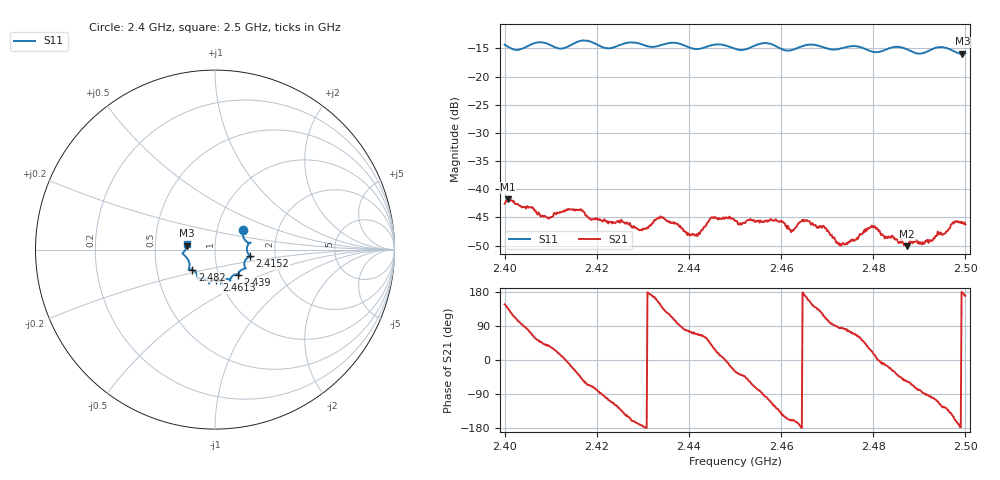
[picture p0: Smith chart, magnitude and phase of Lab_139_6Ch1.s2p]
# Hz S RI R 50
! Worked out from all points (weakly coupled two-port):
!   601 points, 2.4 GHz to 2.5 GHz, reference 50 ohm
!   highest |S21| = -41.80 dB at 2.4007 GHz (marker M1); lowest = -50.1 dB at 2.4873 GHz (marker M2)
!   lowest |S11| = -15.9 dB at 2.4993 GHz (marker M3), VSWR 1.38, Z = 36.3 + j1.61 ohm
!   |S11| at or under -10 dB: start of sweep to end of sweep
!   S12 and S22 are empty: the file has one direction only
!   S11 on the Smith chart (normalised r, x): 2.4 GHz: 1.33, +0.31; 2.4152 GHz: 1.48, -0.11; 2.439 GHz: 1.24, -0.36; 2.4613 GHz: 0.96, -0.34; 2.482 GHz: 0.76, -0.17; 2.5 GHz: 0.73, +0.05
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2.4e9  0.1562 0.1115  -0.00625 0.00408  0 0  0 0
2.400667e9  0.1551 0.1015  -0.00594 0.00555  0 0  0 0
2.409333e9  0.1921 0.037  0.00435 0.00357  0 0  0 0
2.415167e9  0.1949 -0.0369  0.00587 -0.00281  0 0  0 0
2.416667e9  0.2042 -0.0426  0.00427 -0.00487  0 0  0 0
2.422333e9  0.1665 -0.0638  -0.00108 -0.0051  0 0  0 0
2.429333e9  0.1651 -0.1058  -0.00428 -0.00076  0 0  0 0
2.433333e9  0.1326 -0.1323  -0.00502 0.00252  0 0  0 0
2.439e9  0.1282 -0.1391  0.000691 0.00422  0 0  0 0
2.441833e9  0.0998 -0.1446  0.00141 0.00357  0 0  0 0
2.445167e9  0.0839 -0.1719  0.00459 0.00319  0 0  0 0
2.45e9  0.0681 -0.1631  0.00453 -0.00262  0 0  0 0
2.456667e9  0.0394 -0.1947  -0.000659 -0.00523  0 0  0 0
2.461333e9  0.00748 -0.1703  -0.00405 -0.00189  0 0  0 0
2.466667e9  -0.0329 -0.1899  -0.00414 0.00275  0 0  0 0
2.472667e9  -0.0737 -0.1606  0.000305 0.00317  0 0  0 0
2.479833e9  -0.1059 -0.1285  0.0043 0.00163  0 0  0 0
2.482e9  -0.1266 -0.1119  0.00388 -0.000794  0 0  0 0
2.483333e9  -0.1396 -0.11  0.00359 -0.00126  0 0  0 0
2.487333e9  -0.1433 -0.0998  0.00175 -0.00259  0 0  0 0
2.499333e9  -0.158 0.0216  -0.00511 0.000236  0 0  0 0
2.5e9  -0.1576 0.0336  -0.00481 0.000866  0 0  0 0
